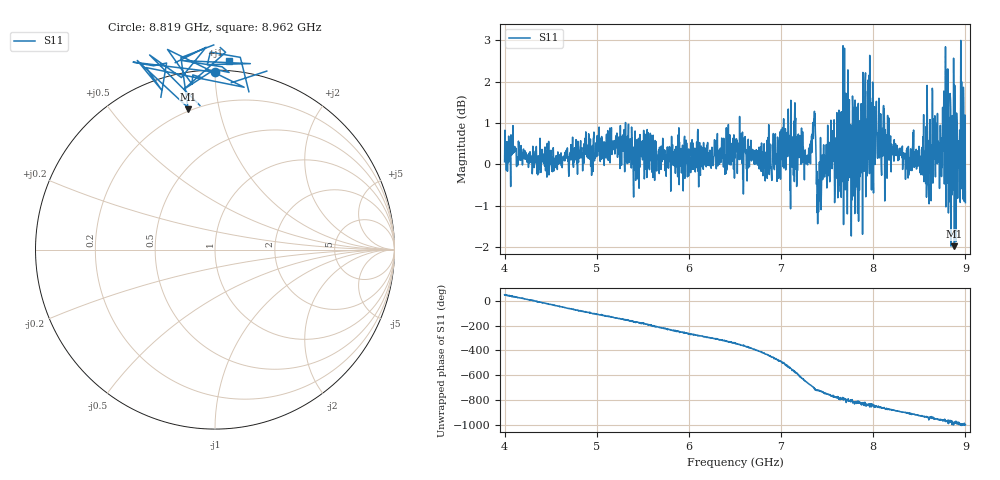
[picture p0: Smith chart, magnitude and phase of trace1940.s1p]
! Created with skrf 1.8.0 (http://scikit-rf.org).
# Hz S RI R 50.0
!freq ReS11 ImS11
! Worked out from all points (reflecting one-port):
!   1601 points, 4 GHz to 9 GHz, reference 50 ohm
!   lowest |S11| = -2.0 dB at 8.881 GHz (marker M1), VSWR 8.83, Z = 9.45 + j40.5 ohm
!   phase of S11 starts at 50 deg and turns -1049 deg over the sweep
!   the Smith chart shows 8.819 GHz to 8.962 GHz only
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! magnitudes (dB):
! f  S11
! 4 GHz  0.1
! 4.625 GHz  -0.1
! 5.25 GHz  0.1
! 5.875 GHz  -0.1
! 6.5 GHz  0.3
! 6.819 GHz  0.0
! 7.125 GHz  0.6
! 7.272 GHz  0.0
! 7.353 GHz  1.0
! 7.416 GHz  0.1
! 7.466 GHz  -0.1
! 7.606 GHz  1.3
! 7.669 GHz  0.6
! 7.75 GHz  0.2
! 7.775 GHz  1.7
! 7.8 GHz  -1.2
! 7.891 GHz  -0.2
! 7.909 GHz  0.9
! 7.962 GHz  2.6
! 8.375 GHz  0.1
! 8.612 GHz  0.1
! 8.656 GHz  1.0
! 8.725 GHz  0.3
! 8.772 GHz  -0.5
! 8.841 GHz  1.3
! 8.881 GHz  -2.0
! 8.972 GHz  0.2
! 9 GHz  -0.9
